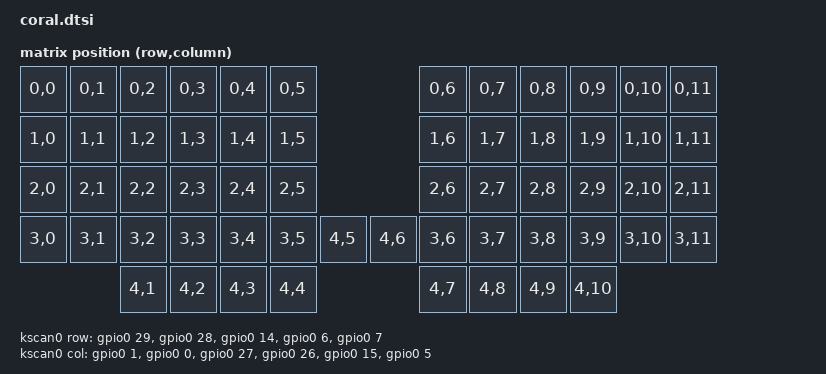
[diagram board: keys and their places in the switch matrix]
#include <dt-bindings/zmk/matrix_transform.h>
#include "coral-layouts.dtsi"

&pico_spi { status = "disabled"; };
&pico_i2c0 { status = "disabled"; };
&pico_i2c1 { status = "disabled"; };
&pico_serial { status = "okay"; }; // NOTE: alias to &uart0

&physical_layout0 {
    kscan = <&kscan0>;
    transform = <&default_transform>;
};

/ {
    wired_split {
        compatible = "zmk,wired-split";
        device = <&pico_serial>;
    };

    chosen {
        zmk,physical-layout = &physical_layout0;
    };

    kscan0: kscan_0 {
        compatible = "zmk,kscan-gpio-matrix";
        wakeup-source;

        diode-direction = "col2row";

        row-gpios
            = <&gpio0 29 (GPIO_ACTIVE_HIGH | GPIO_PULL_DOWN)>
            , <&gpio0 28 (GPIO_ACTIVE_HIGH | GPIO_PULL_DOWN)>
            , <&gpio0 14 (GPIO_ACTIVE_HIGH | GPIO_PULL_DOWN)>
            , <&gpio0 6 (GPIO_ACTIVE_HIGH | GPIO_PULL_DOWN)>
            , <&gpio0 7 (GPIO_ACTIVE_HIGH | GPIO_PULL_DOWN)>
            ;

        // NOTE: Below are LHS columns, RHS columns are different and re-defined in their respective .overlay files
        col-gpios
            = <&gpio0 1 (GPIO_ACTIVE_HIGH)>
            , <&gpio0 0 (GPIO_ACTIVE_HIGH)>
            , <&gpio0 27 (GPIO_ACTIVE_HIGH)>
            , <&gpio0 26 (GPIO_ACTIVE_HIGH)>
            , <&gpio0 15 (GPIO_ACTIVE_HIGH)>
            , <&gpio0 5 (GPIO_ACTIVE_HIGH)>
            ;
    };

    default_transform: default_transform {
        compatible = "zmk,matrix-transform";
        columns = <12>;
        rows = <5>;
        map = <
            RC(0,0) RC(0,1) RC(0,2) RC(0,3) RC(0,4) RC(0,5)                  RC(0,6) RC(0,7) RC(0,8) RC(0,9) RC(0,10) RC(0,11)
            RC(1,0) RC(1,1) RC(1,2) RC(1,3) RC(1,4) RC(1,5)                  RC(1,6) RC(1,7) RC(1,8) RC(1,9) RC(1,10) RC(1,11)
            RC(2,0) RC(2,1) RC(2,2) RC(2,3) RC(2,4) RC(2,5)                  RC(2,6) RC(2,7) RC(2,8) RC(2,9) RC(2,10) RC(2,11)
            RC(3,0) RC(3,1) RC(3,2) RC(3,3) RC(3,4) RC(3,5) RC(4,5)  RC(4,6) RC(3,6) RC(3,7) RC(3,8) RC(3,9) RC(3,10) RC(3,11)
                            RC(4,1) RC(4,2) RC(4,3) RC(4,4)                  RC(4,7) RC(4,8) RC(4,9) RC(4,10)
        >;
    };

    left_encoder: left_encoder {
        compatible = "alps,ec11";
        steps = <80>;
        status = "disabled";
    };

    right_encoder: right_encoder {
        compatible = "alps,ec11";
        steps = <80>;
        status = "disabled";
    };

    sensors: sensors {
        compatible = "zmk,keymap-sensors";
        sensors = <&left_encoder &right_encoder>;
        triggers-per-rotation = <20>;
    };
};
